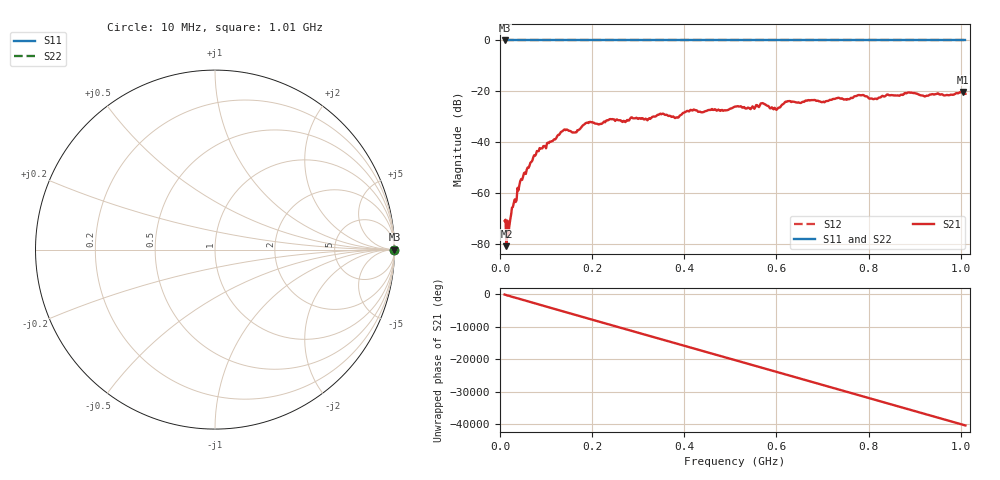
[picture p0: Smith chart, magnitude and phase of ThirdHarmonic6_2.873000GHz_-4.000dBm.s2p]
! 8/17/2025 7:51:25 AM
! C:\ANRITSUVNA\TEMP\TEMP.S2P
! CHANNEL.1
! TR.MEASUREMENT
! RAW.DATA
! RF.CORRECTION.OFF
! AVERAGING.OFF
! IF.BANDWIDTH: 5KHZ
! SWEEPTYPE:  FREQ.SWEEP(Linear)
! Reference Plane Port Info
! PORT:  PORT1  PORT2
! DISTANCE:  0  m  0  m
! TIME:  0  s  0  s
! PHASE.OFFSET:  0  deg.  0  deg.
! LOSS:  0  dB  0  dB
! REF.LOSS:  0  dB  0  dB
! REF.FREQ:  0  Hz  0  Hz
! Power Info
! POWER:  -20  dBm  -20  dBm
! EFF.POWER:  -20  dBm  -20  dBm
! SOURCE.ATTEN:  0  dB  0  dB
! TEST.ATTEN:  0  dB  0  dB
# GHZ S RI R 50.0
! FREQ.GHZ  S11RE  S11IM  S21RE  S21IM  S12RE  S12IM  S22RE  S22IM
!; PortSelection: Port_12
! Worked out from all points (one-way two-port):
!   501 points, 10 MHz to 1.01 GHz, reference 50 ohm
!   highest |S21| = -20.26 dB at 1.004 GHz (marker M1); lowest = -80.7 dB at 14 MHz (marker M2)
!   lowest |S11| = 0.0 dB at 10 MHz (marker M3)
!   |S11| at or under -10 dB: nowhere
!   |S22| runs from 0.0 to 0.0 dB; largest |S21 - S12| = 1.1
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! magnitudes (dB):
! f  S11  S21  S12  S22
! 10 MHz  0.0  -70.8  0.0  0.0
! 14 MHz  0.0  -80.7  0.0  0.0
! 18 MHz  0.0  -76.9  0.0  0.0
! 28 MHz  0.0  -65.3  0.0  0.0
! 42 MHz  0.0  -56.8  0.0  0.0
! 78 MHz  0.0  -44.7  0.0  0.0
! 136 MHz  0.0  -35.5  0.0  0.0
! 162 MHz  0.0  -36.1  0.0  0.0
! 178 MHz  0.0  -33.7  0.0  0.0
! 192 MHz  0.0  -32.4  0.0  0.0
! 344 MHz  0.0  -29.2  0.0  0.0
! 384 MHz  0.0  -30.2  0.0  0.0
! 416 MHz  0.0  -27.4  0.0  0.0
! 510 MHz  0.0  -25.9  0.0  0.0
! 548 MHz  0.0  -25.8  0.0  0.0
! 570 MHz  0.0  -24.6  0.0  0.0
! 598 MHz  0.0  -26.8  0.0  0.0
! 624 MHz  0.0  -23.8  0.0  0.0
! 678 MHz  0.0  -23.4  0.0  0.0
! 844 MHz  0.0  -21.5  0.0  0.0
! 1.004 GHz  0.0  -20.3  0.0  0.0
! 1.01 GHz  0.0  -20.9  0.0  0.0
